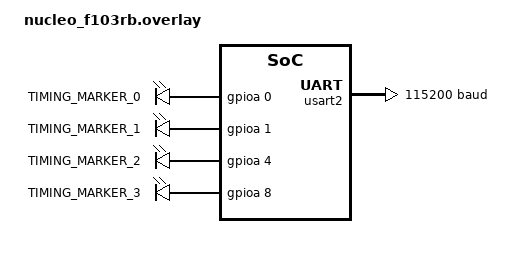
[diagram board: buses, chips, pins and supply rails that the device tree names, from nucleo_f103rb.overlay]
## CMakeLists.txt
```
cmake_minimum_required(VERSION 3.20.0)
find_package(Zephyr REQUIRED HINTS $ENV{ZEPHYR_BASE})
project(timing_accuracy_test)

target_sources(app PRIVATE
    src/main.c
    src/timing_tests.c
    src/gpio_markers.c
)
```

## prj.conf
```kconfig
# Core kernel settings
CONFIG_PRINTK=y
CONFIG_SERIAL=y
CONFIG_CONSOLE=y
CONFIG_UART_CONSOLE=y

# GPIO subsystem
CONFIG_GPIO=y

# Timer and counter subsystem
CONFIG_COUNTER=y

# System tick rate - 1000 Hz gives 1ms tick resolution
CONFIG_SYS_CLOCK_TICKS_PER_SEC=1000

# Timing measurement API
CONFIG_TIMING_FUNCTIONS=y

# Clock control
CONFIG_CLOCK_CONTROL=y
CONFIG_CLOCK_CONTROL_STM32=y

# Logging subsystem
CONFIG_LOG=y
CONFIG_LOG_DEFAULT_LEVEL=3
CONFIG_LOG_BACKEND_UART=y
CONFIG_LOG_BUFFER_SIZE=4096
CONFIG_LOG_MODE_DEFERRED=y

# Thread analysis
CONFIG_THREAD_ANALYZER=y
CONFIG_THREAD_NAME=y

# Power management disabled
CONFIG_PM=n

# Compiler optimization
CONFIG_SPEED_OPTIMIZATIONS=y

# DWT cycle counter
CONFIG_CORTEX_M_DWT=y

# MPU disabled for TFL mark register writes to unmapped address
CONFIG_ARM_MPU=n

# Main stack size
CONFIG_MAIN_STACK_SIZE=4096
```

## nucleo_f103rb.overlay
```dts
/ {
    timing_markers {
        compatible = "gpio-leds";

        marker0: marker_0 {
            gpios = <&gpioa 0 GPIO_ACTIVE_HIGH>;
            label = "TIMING_MARKER_0";
        };

        marker1: marker_1 {
            gpios = <&gpioa 1 GPIO_ACTIVE_HIGH>;
            label = "TIMING_MARKER_1";
        };

        marker2: marker_2 {
            gpios = <&gpioa 4 GPIO_ACTIVE_HIGH>;
            label = "TIMING_MARKER_2";
        };

        marker3: marker_3 {
            gpios = <&gpioa 8 GPIO_ACTIVE_HIGH>;
            label = "TIMING_MARKER_3";
        };
    };

    aliases {
        marker0 = &marker0;
        marker1 = &marker1;
        marker2 = &marker2;
        marker3 = &marker3;
    };
};

&usart2 {
    status = "okay";
    current-speed = <115200>;
};
```

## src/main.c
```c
/* main.c
 * Temporal accuracy test firmware entry point
 * Author: Sandip Kumar Mourya
 * Board: NUCLEO-F103RB (STM32F103RB, Cortex-M3 @ 72 MHz)
 */

#include <zephyr/kernel.h>
#include <zephyr/logging/log.h>
#include "gpio_markers.h"
#include "timing_tests.h"

LOG_MODULE_REGISTER(main, LOG_LEVEL_INF);

int main(void)
{
    int ret;

    LOG_INF("==============================================");
    LOG_INF("Temporal Accuracy Test Firmware v1.0");
    LOG_INF("Board: %s", CONFIG_BOARD);
    LOG_INF("SYSCLK: %u Hz", sys_clock_hw_cycles_per_sec());
    LOG_INF("Tick rate: %u Hz", CONFIG_SYS_CLOCK_TICKS_PER_SEC);
    LOG_INF("==============================================");

    ret = markers_init();
    if (ret < 0) {
        LOG_ERR("Marker init failed: %d", ret);
        return ret;
    }

    /* Self-test: flash all markers 3 times to confirm connections */
    LOG_INF("Marker self-test...");
    for (int i = 0; i < 3; i++) {
        marker0_set(); marker1_set(); marker2_set(); marker3_set();
        k_sleep(K_MSEC(50));
        marker0_clear(); marker1_clear(); marker2_clear(); marker3_clear();
        k_sleep(K_MSEC(50));
    }
    LOG_INF("Self-test complete");

    /* Settling delay before test sequence */
    k_sleep(K_MSEC(500));

    LOG_INF("Beginning test sequence...");

    run_timing_test(TEST_PERIODIC_TOGGLE_1MS,         5000);
    k_sleep(K_MSEC(1000));

    run_timing_test(TEST_PERIODIC_TOGGLE_10MS,        5000);
    k_sleep(K_MSEC(1000));

    run_timing_test(TEST_PERIODIC_TOGGLE_100MS,       5000);
    k_sleep(K_MSEC(1000));

    run_timing_test(TEST_BUSY_WAIT_ACCURACY,         10000);
    k_sleep(K_MSEC(1000));

    run_timing_test(TEST_SLEEP_ACCURACY,             10000);
    k_sleep(K_MSEC(1000));

    run_timing_test(TEST_TIMER_CALLBACK_JITTER,       5000);
    k_sleep(K_MSEC(1000));

    run_timing_test(TEST_THREAD_SCHEDULING_JITTER,    5000);
    k_sleep(K_MSEC(1000));

    run_timing_test(TEST_MULTI_THREAD_INTERFERENCE,   5000);
    k_sleep(K_MSEC(1000));

    run_timing_test(TEST_ISR_LATENCY,                 5000);
    k_sleep(K_MSEC(1000));

    run_timing_test(TEST_WORKLOAD_IMPACT,            20000);

    LOG_INF("=== ALL TESTS COMPLETE ===");

    while (1) {
        k_sleep(K_SECONDS(10));
    }

    return 0;
}
```

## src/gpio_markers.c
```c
/* gpio_markers.c
 * GPIO timing marker implementation
 * Author: Sandip Kumar Mourya
 */

#include <zephyr/kernel.h>
#include <zephyr/drivers/gpio.h>
#include <zephyr/logging/log.h>
#include "gpio_markers.h"

LOG_MODULE_REGISTER(gpio_markers, LOG_LEVEL_INF);

#define MARKER0_NODE DT_ALIAS(marker0)
#define MARKER1_NODE DT_ALIAS(marker1)
#define MARKER2_NODE DT_ALIAS(marker2)
#define MARKER3_NODE DT_ALIAS(marker3)

static const struct gpio_dt_spec m0 = GPIO_DT_SPEC_GET(MARKER0_NODE, gpios);
static const struct gpio_dt_spec m1 = GPIO_DT_SPEC_GET(MARKER1_NODE, gpios);
static const struct gpio_dt_spec m2 = GPIO_DT_SPEC_GET(MARKER2_NODE, gpios);
static const struct gpio_dt_spec m3 = GPIO_DT_SPEC_GET(MARKER3_NODE, gpios);

int markers_init(void)
{
    int ret;

    if (!gpio_is_ready_dt(&m0) || !gpio_is_ready_dt(&m1) ||
        !gpio_is_ready_dt(&m2) || !gpio_is_ready_dt(&m3)) {
        LOG_ERR("GPIO devices not ready");
        return -ENODEV;
    }

    ret = gpio_pin_configure_dt(&m0, GPIO_OUTPUT_INACTIVE); if (ret) return ret;
    ret = gpio_pin_configure_dt(&m1, GPIO_OUTPUT_INACTIVE); if (ret) return ret;
    ret = gpio_pin_configure_dt(&m2, GPIO_OUTPUT_INACTIVE); if (ret) return ret;
    ret = gpio_pin_configure_dt(&m3, GPIO_OUTPUT_INACTIVE); if (ret) return ret;

    LOG_INF("Timing markers ready on PA0, PA1, PA4, PA8");
    return 0;
}

void marker0_set(void)    { gpio_pin_set_dt(&m0, 1); }
void marker0_clear(void)  { gpio_pin_set_dt(&m0, 0); }
void marker0_toggle(void) { gpio_pin_toggle_dt(&m0); }
void marker0_pulse(void)  { gpio_pin_set_dt(&m0, 1); gpio_pin_set_dt(&m0, 0); }

void marker1_set(void)    { gpio_pin_set_dt(&m1, 1); }
void marker1_clear(void)  { gpio_pin_set_dt(&m1, 0); }
void marker1_toggle(void) { gpio_pin_toggle_dt(&m1); }
void marker1_pulse(void)  { gpio_pin_set_dt(&m1, 1); gpio_pin_set_dt(&m1, 0); }

void marker2_set(void)    { gpio_pin_set_dt(&m2, 1); }
void marker2_clear(void)  { gpio_pin_set_dt(&m2, 0); }
void marker2_toggle(void) { gpio_pin_toggle_dt(&m2); }
void marker2_pulse(void)  { gpio_pin_set_dt(&m2, 1); gpio_pin_set_dt(&m2, 0); }

void marker3_set(void)    { gpio_pin_set_dt(&m3, 1); }
void marker3_clear(void)  { gpio_pin_set_dt(&m3, 0); }
void marker3_toggle(void) { gpio_pin_toggle_dt(&m3); }
void marker3_pulse(void)  { gpio_pin_set_dt(&m3, 1); gpio_pin_set_dt(&m3, 0); }
```

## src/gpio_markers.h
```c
/* gpio_markers.h
 * GPIO timing marker interface
 * Author: Sandip Kumar Mourya
 */

#ifndef GPIO_MARKERS_H
#define GPIO_MARKERS_H

#include <zephyr/kernel.h>

/* TFL Deadline Monitor mark register.
 * Writing any value signals a task wakeup event to Renode.
 * No-op on real hardware (unmapped address, MPU disabled). */
#define TFL_MONITOR_MARK_ADDR  0x50000000U
#define TFL_MARK() \
    (*((volatile uint32_t *)TFL_MONITOR_MARK_ADDR) = 1U)

/* Initialise all four GPIO timing markers.
 * Must be called before any marker functions. */
int markers_init(void);

/* Marker 0 — primary timing signal */
void marker0_set(void);
void marker0_clear(void);
void marker0_toggle(void);
void marker0_pulse(void);

/* Marker 1 — test envelope (HIGH = test running) */
void marker1_set(void);
void marker1_clear(void);
void marker1_toggle(void);
void marker1_pulse(void);

/* Marker 2 — sub-test index encoding */
void marker2_set(void);
void marker2_clear(void);
void marker2_toggle(void);
void marker2_pulse(void);

/* Marker 3 — load state indicator */
void marker3_set(void);
void marker3_clear(void);
void marker3_toggle(void);
void marker3_pulse(void);

#endif /* GPIO_MARKERS_H */
```

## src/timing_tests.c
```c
/* timing_tests.c
 * All ten timing test scenario implementations
 * Author: Sandip Kumar Mourya
 */

#include <zephyr/kernel.h>
#include <zephyr/logging/log.h>
#include "gpio_markers.h"
#include "timing_tests.h"

LOG_MODULE_REGISTER(timing_tests, LOG_LEVEL_INF);

/* DWT cycle counter access */
#define DWT_CTRL   (*((volatile uint32_t *)0xE0001000))
#define DWT_CYCCNT (*((volatile uint32_t *)0xE0001004))
#define DEM_CR     (*((volatile uint32_t *)0xE000EDFC))
#define DEM_CR_TRCENA (1 << 24)

static void dwt_enable(void)
{
    DEM_CR    |= DEM_CR_TRCENA;
    DWT_CYCCNT = 0;
    DWT_CTRL  |= 1;
}

/* ── Category A: RTOS sleep tests ───────────────────────────── */

static void test_periodic_toggle(uint32_t interval_ms, uint32_t duration_ms)
{
    uint32_t iterations = duration_ms / interval_ms;

    LOG_INF("Periodic toggle: interval=%u ms, iters=%u",
            interval_ms, iterations);

    k_sleep(K_MSEC(1));  /* align to tick boundary */

    marker1_set();

    for (uint32_t i = 0; i < iterations; i++) {
        TFL_MARK();
        marker0_toggle();
        k_sleep(K_MSEC(interval_ms));
    }

    marker0_clear();
    marker1_clear();

    LOG_INF("Periodic toggle done: %u iters", iterations);
}

/* ── Category B: Busy-wait tests ────────────────────────────── */

static void test_busy_wait_accuracy(uint32_t duration_ms)
{
    static const uint32_t delays_us[] =
        {10, 50, 100, 500, 1000, 5000, 10000};

    LOG_INF("Busy-wait accuracy test");
    marker1_set();

    for (int d = 0; d < (int)ARRAY_SIZE(delays_us); d++) {
        uint32_t delay = delays_us[d];
        LOG_INF("  Sub-test: busy_wait(%u us)", delay);

        for (int p = 0; p <= d; p++) {
            marker2_pulse();
            k_busy_wait(100);
        }

        k_sleep(K_MSEC(10));

        for (int i = 0; i < 100; i++) {
            marker0_set();
            k_busy_wait(delay);
            marker0_clear();
            k_busy_wait(delay);
        }

        k_sleep(K_MSEC(50));
    }

    marker1_clear();
    LOG_INF("Busy-wait accuracy done");
}

/* ── Category C: Kernel timer callback tests ─────────────────── */

static struct k_timer timing_timer;
static volatile uint32_t timer_cb_count = 0;

static void timer_cb(struct k_timer *t)
{
    TFL_MARK();
    marker0_toggle();
    timer_cb_count++;
}

static void test_timer_callback_jitter(uint32_t period_ms,
                                       uint32_t duration_ms)
{
    LOG_INF("Timer callback jitter: period=%u ms, duration=%u ms",
            period_ms, duration_ms);

    k_timer_init(&timing_timer, timer_cb, NULL);
    timer_cb_count = 0;

    marker1_set();
    k_timer_start(&timing_timer, K_MSEC(period_ms), K_MSEC(period_ms));
    k_sleep(K_MSEC(duration_ms));
    k_timer_stop(&timing_timer);
    marker0_clear();
    marker1_clear();

    LOG_INF("Timer callback done: %u callbacks", timer_cb_count);
}

/* ── Category D: Thread scheduling tests ────────────────────── */

#define SCHED_STACK_SIZE 512
#define SCHED_PRIORITY   2
#define WORKER_STACK_SIZE 512

static K_THREAD_STACK_DEFINE(sched_stack,    SCHED_STACK_SIZE);
static K_THREAD_STACK_DEFINE(worker1_stack,  WORKER_STACK_SIZE);
static K_THREAD_STACK_DEFINE(worker2_stack,  WORKER_STACK_SIZE);

static struct k_thread sched_td, worker1_td, worker2_td;

static volatile bool sched_running   = false;
static volatile bool workers_running = false;
static volatile uint32_t workload_intensity = 1000;

static void sched_thread(void *p1, void *p2, void *p3)
{
    uint32_t period = (uint32_t)(uintptr_t)p1;
    int64_t  next   = k_uptime_get();

    while (sched_running) {
        next += period;
        TFL_MARK();
        marker0_toggle();
        k_sleep(K_TIMEOUT_ABS_MS(next));
    }

    marker0_clear();
}

static void cpu_worker(void *p1, void *p2, void *p3)
{
    while (workers_running) {
        volatile uint32_t x = 0;
        for (volatile uint32_t i = 0; i < workload_intensity; i++) {
            x += i * i;
        }
        k_yield();
    }
}

static void io_worker(void *p1, void *p2, void *p3)
{
    while (workers_running) {
        marker2_toggle();
        k_sleep(K_MSEC(3));
    }
    marker2_clear();
}

static void test_thread_scheduling_jitter(uint32_t period_ms,
                                          uint32_t duration_ms)
{
    LOG_INF("Thread scheduling jitter: period=%u ms, duration=%u ms",
            period_ms, duration_ms);

    sched_running = true;
    marker1_set();

    k_thread_create(&sched_td, sched_stack, SCHED_STACK_SIZE,
                    sched_thread, (void *)(uintptr_t)period_ms,
                    NULL, NULL, SCHED_PRIORITY, 0, K_NO_WAIT);

    k_sleep(K_MSEC(duration_ms));

    sched_running = false;
    k_thread_join(&sched_td, K_MSEC(500));
    marker1_clear();

    LOG_INF("Thread scheduling jitter done");
}

static void test_multi_thread_interference(uint32_t period_ms,
                                           uint32_t duration_ms)
{
    LOG_INF("Multi-thread interference: period=%u ms", period_ms);

    sched_running   = true;
    workers_running = true;
    workload_intensity = 10000;

    marker1_set();

    k_thread_create(&sched_td, sched_stack, SCHED_STACK_SIZE,
                    sched_thread, (void *)(uintptr_t)period_ms,
                    NULL, NULL, SCHED_PRIORITY, 0, K_NO_WAIT);

    k_thread_create(&worker1_td, worker1_stack, WORKER_STACK_SIZE,
                    cpu_worker, NULL, NULL, NULL, 5, 0, K_NO_WAIT);

    k_thread_create(&worker2_td, worker2_stack, WORKER_STACK_SIZE,
                    io_worker, NULL, NULL, NULL, SCHED_PRIORITY, 0, K_NO_WAIT);

    k_sleep(K_MSEC(duration_ms));

    sched_running   = false;
    workers_running = false;
    k_thread_join(&sched_td,   K_MSEC(500));
    k_thread_join(&worker1_td, K_MSEC(500));
    k_thread_join(&worker2_td, K_MSEC(500));

    marker1_clear();
    LOG_INF("Multi-thread interference done");
}

/* ── Category E: System-level tests ─────────────────────────── */

static void test_isr_latency(uint32_t duration_ms)
{
    LOG_INF("ISR latency via timer callback: duration=%u ms", duration_ms);
    test_timer_callback_jitter(1, duration_ms);
}

static void test_workload_impact(uint32_t duration_ms)
{
    uint32_t phase = duration_ms / 4;
    LOG_INF("Workload impact: 4 phases x %u ms", phase);

    /* Phase 1: no load */
    LOG_INF("  Phase 1: No load");
    marker3_clear();
    test_timer_callback_jitter(10, phase);
    k_sleep(K_MSEC(100));

    /* Phase 2: light load */
    LOG_INF("  Phase 2: Light load");
    marker3_set();
    workers_running    = true;
    workload_intensity = 1000;
    k_thread_create(&worker1_td, worker1_stack, WORKER_STACK_SIZE,
                    cpu_worker, NULL, NULL, NULL, 5, 0, K_NO_WAIT);
    test_timer_callback_jitter(10, phase);
    k_sleep(K_MSEC(100));

    /* Phase 3: heavy load */
    LOG_INF("  Phase 3: Heavy load");
    workload_intensity = 100000;
    test_timer_callback_jitter(10, phase);
    k_sleep(K_MSEC(100));

    /* Phase 4: extreme load */
    LOG_INF("  Phase 4: Extreme load");
    workload_intensity = 1000000;
    test_timer_callback_jitter(10, phase);

    workers_running = false;
    marker3_clear();
    k_sleep(K_MSEC(100));

    LOG_INF("Workload impact done");
}

/* ── Dispatcher ──────────────────────────────────────────────── */

void run_timing_test(test_id_t test, uint32_t duration_ms)
{
    LOG_INF("=== Starting test %d (duration=%u ms) ===", test, duration_ms);

    switch (test) {
    case TEST_PERIODIC_TOGGLE_1MS:
        test_periodic_toggle(1, duration_ms); break;
    case TEST_PERIODIC_TOGGLE_10MS:
        test_periodic_toggle(10, duration_ms); break;
    case TEST_PERIODIC_TOGGLE_100MS:
        test_periodic_toggle(100, duration_ms); break;
    case TEST_BUSY_WAIT_ACCURACY:
        test_busy_wait_accuracy(duration_ms); break;
    case TEST_SLEEP_ACCURACY:
        test_periodic_toggle(5, duration_ms); break;
    case TEST_TIMER_CALLBACK_JITTER:
        test_timer_callback_jitter(10, duration_ms); break;
    case TEST_THREAD_SCHEDULING_JITTER:
        test_thread_scheduling_jitter(10, duration_ms); break;
    case TEST_MULTI_THREAD_INTERFERENCE:
        test_multi_thread_interference(10, duration_ms); break;
    case TEST_ISR_LATENCY:
        test_isr_latency(duration_ms); break;
    case TEST_WORKLOAD_IMPACT:
        test_workload_impact(duration_ms); break;
    default:
        LOG_ERR("Unknown test id: %d", test); break;
    }

    LOG_INF("=== Test %d complete ===", test);
}
```

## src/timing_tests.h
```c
/* timing_tests.h
 * Timing test scenario declarations
 * Author: Sandip Kumar Mourya
 */

#ifndef TIMING_TESTS_H
#define TIMING_TESTS_H

typedef enum {
    TEST_PERIODIC_TOGGLE_1MS   = 0,
    TEST_PERIODIC_TOGGLE_10MS  = 1,
    TEST_PERIODIC_TOGGLE_100MS = 2,
    TEST_BUSY_WAIT_ACCURACY    = 3,
    TEST_SLEEP_ACCURACY        = 4,
    TEST_TIMER_CALLBACK_JITTER = 5,
    TEST_THREAD_SCHEDULING_JITTER  = 6,
    TEST_MULTI_THREAD_INTERFERENCE = 7,
    TEST_ISR_LATENCY           = 8,
    TEST_WORKLOAD_IMPACT       = 9,
} test_id_t;

/* Run a single test scenario */
void run_timing_test(test_id_t test, uint32_t duration_ms);

#endif /* TIMING_TESTS_H */
```
